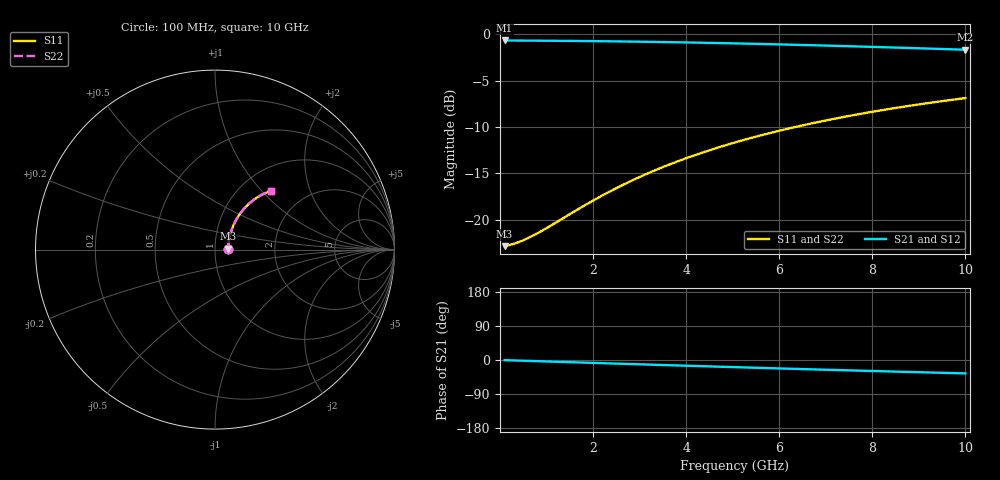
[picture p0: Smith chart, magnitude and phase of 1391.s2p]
# Hz S RI R 50.00
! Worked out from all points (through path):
!   100 points, 100 MHz to 10 GHz, reference 50 ohm
!   highest |S21| = -0.65 dB at 100 MHz (marker M1); lowest = -1.6 dB at 10 GHz (marker M2)
!   group delay of S21, straight-line fit = 9.86 ps
!   lowest |S11| = -22.9 dB at 100 MHz (marker M3), VSWR 1.16, Z = 57.7 + j0.547 ohm
!   |S11| at or under -10 dB: start of sweep to 6.336 GHz
!   |S22| runs from -22.9 to -6.9 dB; largest |S21 - S12| = 0
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1e8  0.0719 0.00471  0.9281 -0.0062  0.9281 -0.0062  0.0719 0.00471
3e8  0.0729 0.0141  0.9271 -0.0186  0.9271 -0.0186  0.0729 0.0141
4e8  0.0733 0.0188  0.9266 -0.0248  0.9266 -0.0248  0.0733 0.0188
5e8  0.0739 0.0235  0.9261 -0.0309  0.9261 -0.0309  0.0739 0.0235
7e8  0.075 0.0328  0.925 -0.0432  0.925 -0.0432  0.075 0.0328
1e9  0.077 0.0467  0.9229 -0.0616  0.9229 -0.0616  0.077 0.0467
1.8e9  0.0848 0.0832  0.9148 -0.11  0.9148 -0.11  0.0848 0.0832
2.2e9  0.09 0.101  0.9095 -0.1338  0.9095 -0.1338  0.09 0.101
2.6e9  0.096 0.1184  0.9032 -0.1572  0.9032 -0.1572  0.096 0.1184
3e9  0.1029 0.1354  0.896 -0.1802  0.896 -0.1802  0.1029 0.1354
3.4e9  0.1107 0.1519  0.888 -0.2026  0.888 -0.2026  0.1107 0.1519
3.8e9  0.1192 0.1678  0.8791 -0.2246  0.8791 -0.2246  0.1192 0.1678
4.2e9  0.1284 0.1832  0.8695 -0.246  0.8695 -0.246  0.1284 0.1832
4.6e9  0.1383 0.198  0.8592 -0.2668  0.8592 -0.2668  0.1383 0.198
5.1e9  0.1516 0.2155  0.8454 -0.2918  0.8454 -0.2918  0.1516 0.2155
5.5e9  0.1629 0.2288  0.8336 -0.3111  0.8336 -0.3111  0.1629 0.2288
5.9e9  0.1746 0.2414  0.8212 -0.3297  0.8212 -0.3297  0.1746 0.2414
6.7e9  0.1996 0.2643  0.7951 -0.3648  0.7951 -0.3648  0.1996 0.2643
7.5e9  0.226 0.2843  0.7674 -0.3969  0.7674 -0.3969  0.226 0.2843
8.4e9  0.2569 0.3032  0.7347 -0.4295  0.7347 -0.4295  0.2569 0.3032
9.2e9  0.2851 0.3169  0.7049 -0.4554  0.7049 -0.4554  0.2851 0.3169
1e10  0.3136 0.3277  0.6745 -0.4785  0.6745 -0.4785  0.3136 0.3277
